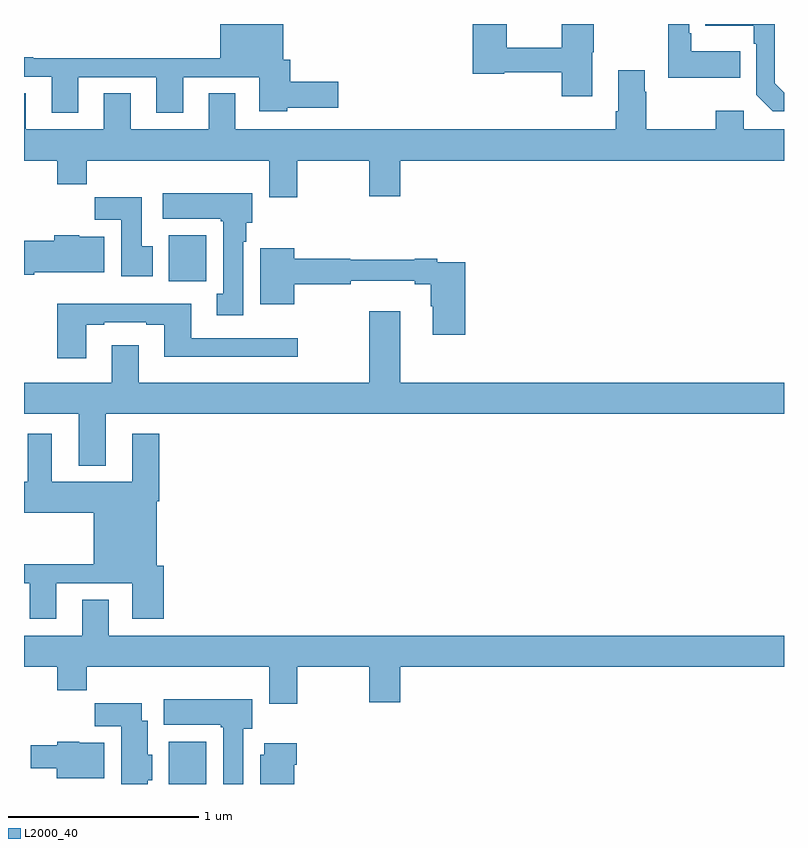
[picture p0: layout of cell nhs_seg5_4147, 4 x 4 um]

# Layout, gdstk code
import gdstk
lib = gdstk.Library(unit=1e-6, precision=1e-09)
def R(c, l, rs):  # rectangles x0, y0, x1, y1
    for r in rs: c.add(gdstk.rectangle(r[:2], r[2:], *l))
def P(c, l, *ps):  # polygons
    for p in ps: c.add(gdstk.Polygon(p, *l))
L2000_40 = (2000, 40)

nhs_seg5_4147 = lib.new_cell('nhs_seg5_4147')
R(nhs_seg5_4147, L2000_40, [(355.763,866.799,355.96,867.022), (355.763,869.444,355.96,869.686)])
P(nhs_seg5_4147, L2000_40, [(355.285,870.519),(355.697,870.519),(355.697,870.333),(355.837,870.333),(355.837,870.519),(356.237,870.519),(356.237,870.341),(356.385,870.341),(356.385,870.359),(356.653,870.359),(356.653,870.494),(356.402,870.494),(356.402,870.612),(356.365,870.612),(356.365,870.799),(356.033,870.799),(356.033,870.62),(355.049,870.62),(355.049,870.623),(355,870.623),(355,870.522),(355.145,870.522),(355.145,870.333),(355.285,870.333)],
  [(359,870.436),(358.95,870.486),(358.95,870.799),(358.585,870.799),(358.585,870.791),(358.842,870.791),(358.842,870.695),(358.854,870.695),(358.854,870.426),(358.941,870.339),(359,870.339)],
  [(358.769,870.655),(358.513,870.655),(358.513,870.751),(358.5,870.751),(358.5,870.799),(358.392,870.799),(358.392,870.515),(358.769,870.515)],
  [(357.991,870.651),(357.999,870.651),(357.999,870.799),(357.829,870.799),(357.829,870.674),(357.54,870.674),(357.54,870.799),(357.362,870.799),(357.362,870.538),(357.528,870.538),(357.528,870.546),(357.829,870.546),(357.829,870.42),(357.991,870.42)],
  [(356.439,870.08),(356.816,870.08),(356.816,869.892),(356.98,869.892),(356.98,870.08),(359,870.08),(359,870.244),(358.788,870.244),(358.788,870.343),(358.642,870.343),(358.642,870.244),(358.275,870.244),(358.275,870.443),(358.267,870.443),(358.267,870.556),(358.127,870.556),(358.127,870.34),(358.115,870.34),(358.115,870.244),(356.113,870.244),(356.113,870.434),(355.973,870.434),(355.973,870.244),(355.561,870.244),(355.561,870.434),(355.421,870.434),(355.421,870.244),(355.009,870.244),(355.009,870.434),(355,870.434),(355,870.08),(355.175,870.08),(355.175,869.956),(355.331,869.956),(355.331,870.08),(356.291,870.08),(356.291,869.886),(356.439,869.886)],
  [(356.155,869.654),(356.17,869.654),(356.17,869.754),(356.2,869.754),(356.2,869.908),(355.731,869.908),(355.731,869.774),(356.035,869.774),(356.035,869.761),(356.048,869.761),(356.048,869.378),(356.015,869.378),(356.015,869.265),(356.155,869.265)],
  [(355.678,869.628),(355.621,869.628),(355.621,869.887),(355.372,869.887),(355.372,869.768),(355.511,869.768),(355.511,869.472),(355.678,869.472)],
  [(355.054,869.492),(355.423,869.492),(355.423,869.68),(355.29,869.68),(355.29,869.686),(355.16,869.686),(355.16,869.658),(355,869.658),(355,869.48),(355.054,869.48)],
  [(357.323,869.544),(357.176,869.544),(357.176,869.564),(357.056,869.564),(357.056,869.557),(356.718,869.557),(356.718,869.564),(356.422,869.564),(356.422,869.62),(356.243,869.62),(356.243,869.324),(356.422,869.324),(356.422,869.428),(356.72,869.428),(356.72,869.447),(357.056,869.447),(357.056,869.428),(357.14,869.428),(357.14,869.313),(357.152,869.313),(357.152,869.163),(357.323,869.163)],
  [(355.327,869.217),(355.423,869.217),(355.423,869.229),(355.643,869.229),(355.643,869.217),(355.739,869.217),(355.739,869.048),(356.44,869.048),(356.44,869.145),(355.879,869.145),(355.879,869.326),(355.175,869.326),(355.175,869.04),(355.327,869.04)],
  [(355.429,868.748),(359,868.748),(359,868.912),(356.98,868.912),(356.98,869.287),(356.816,869.287),(356.816,868.912),(355.603,868.912),(355.603,869.107),(355.463,869.107),(355.463,868.912),(355,868.912),(355,868.748),(355.289,868.748),(355.289,868.475),(355.429,868.475)],
  [(355.171,867.855),(355.571,867.855),(355.571,867.669),(355.736,867.669),(355.736,867.948),(355.699,867.948),(355.699,868.286),(355.712,868.286),(355.712,868.642),(355.571,868.642),(355.571,868.39),(355.147,868.39),(355.147,868.642),(355.019,868.642),(355.019,868.39),(355,868.39),(355,868.226),(355.367,868.226),(355.367,867.956),(355,867.956),(355,867.855),(355.031,867.855),(355.031,867.669),(355.171,867.669)],
  [(356.439,867.416),(356.816,867.416),(356.816,867.228),(356.98,867.228),(356.98,867.416),(359,867.416),(359,867.58),(355.447,867.58),(355.447,867.77),(355.307,867.77),(355.307,867.58),(355,867.58),(355,867.416),(355.175,867.416),(355.175,867.292),(355.331,867.292),(355.331,867.416),(356.291,867.416),(356.291,867.222),(356.439,867.222)],
  [(356.155,867.09),(356.2,867.09),(356.2,867.244),(355.736,867.244),(355.736,867.11),(356.035,867.11),(356.035,867.097),(356.048,867.097),(356.048,866.799),(356.155,866.799)],
  [(355.651,866.82),(355.675,866.82),(355.675,866.952),(355.651,866.952),(355.651,867.133),(355.621,867.133),(355.621,867.223),(355.372,867.223),(355.372,867.104),(355.511,867.104),(355.511,866.799),(355.651,866.799)],
  [(355.423,867.016),(355.29,867.016),(355.29,867.022),(355.176,867.022),(355.176,867.004),(355.035,867.004),(355.035,866.882),(355.172,866.882),(355.172,866.828),(355.423,866.828)],
  [(356.422,866.9),(356.435,866.9),(356.435,867.013),(356.264,867.013),(356.264,866.952),(356.243,866.952),(356.243,866.799),(356.422,866.799)])

lib.write_gds('nhs_seg5_4147.gds')
